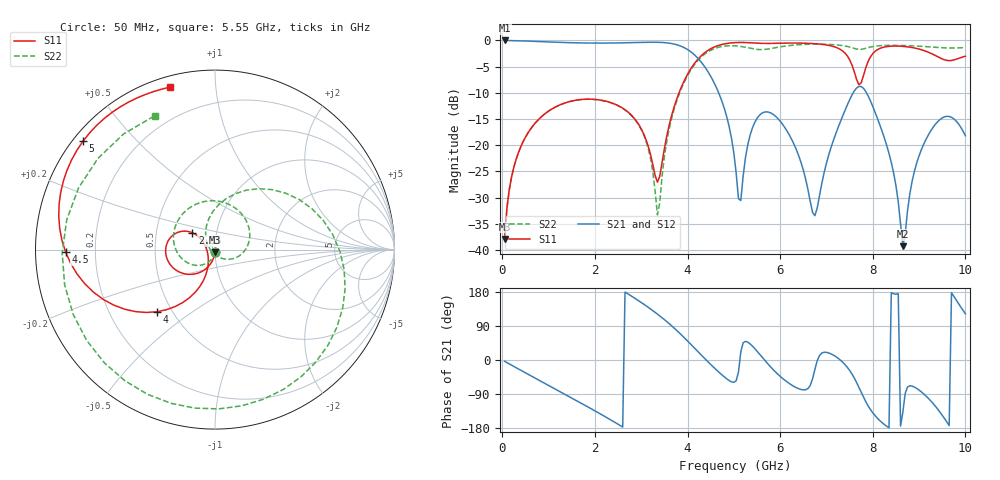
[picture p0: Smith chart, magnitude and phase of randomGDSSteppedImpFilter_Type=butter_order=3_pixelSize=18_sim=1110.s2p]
! freq	dB(S11)	phase(S11)	dB(S12)	phase(S12)
!  dB(S21)	phase(S21)	dB(S22)	phase(S22)
!S-par simulation data
#  GHz  S  DB  R 50
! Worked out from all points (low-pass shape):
!   200 points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, 50 MHz to 10 GHz, reference 50 ohm
!   highest |S21| = 0.00 dB at 50 MHz (marker M1); lowest = -39.3 dB at 8.65 GHz (marker M2)
!   |S21| within 3 dB of the highest: start of sweep to 4.179 GHz
!   lowest |S11| = -37.9 dB at 50 MHz (marker M3), VSWR 1.03, Z = 50 - j1.27 ohm
!   |S11| at or under -10 dB: start of sweep to 3.817 GHz
!   |S22| runs from -38.0 to -0.7 dB; largest |S21 - S12| = 0
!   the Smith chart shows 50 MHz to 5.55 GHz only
!   S11 on the Smith chart (normalised r, x): 50 MHz: 1.00, -0.03; 2.95 GHz: 0.76, +0.15; 4 GHz: 0.41, -0.37; 4.5 GHz: 0.09, -0.01; 5 GHz: 0.03, +0.36; 5.55 GHz: 0.05, +0.76
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0.05  -37.92 -91.3  -0.00 -3.4  -0.00 -3.4  -37.95 -93.5
0.5  -18.47 -115.6  -0.11 -33.9  -0.11 -33.9  -18.50 -132.9
1.75  -11.24 -172.7  -0.49 -117.2  -0.49 -117.2  -11.26 117.5
2.95  -16.10 143.3  -0.39 155.9  -0.39 155.9  -16.21 -7.5
3.4  -25.94 -140.5  -0.37 116.4  -0.37 116.4  -31.03 174.9
4  -6.47 -133.1  -1.74 50.3  -1.74 50.3  -6.73 46.5
4.5  -1.59 -179.1  -6.85 -11.7  -6.85 -11.7  -1.88 -32.4
5  -0.43 140.6  -21.50 -58.9  -21.50 -58.9  -1.02 -115.0
5.05  -0.41 137.1  -25.30 -54.8  -25.30 -54.8  -1.05 -124.5
5.55  -0.54 105.6  -14.31 16.3  -14.31 16.3  -1.75 114.3
6  -0.53 80.3  -15.41 -43.1  -15.41 -43.1  -1.23 6.4
6.7  -0.60 34.9  -32.83 -49.5  -32.83 -49.5  -0.72 -79.6
7.25  -1.49 -17.6  -16.66 4.7  -16.66 4.7  -0.88 -121.6
7.55  -4.67 -82.5  -10.44 -36.8  -10.44 -36.8  -1.39 -140.9
7.7  -8.46 -168.4  -8.79 -72.1  -8.79 -72.1  -1.71 -147.4
7.9  -4.00 72.5  -10.60 -121.1  -10.60 -121.1  -1.37 -155.8
8.35  -1.12 -13.9  -21.56 -178.9  -21.56 -178.9  -0.94 175.8
8.65  -1.13 -49.9  -39.28 -137.2  -39.28 -137.2  -0.97 156.3
9.05  -1.77 -103.6  -20.85 -84.2  -20.85 -84.2  -1.12 129.7
9.4  -3.11 -175.7  -15.53 -129.2  -15.53 -129.2  -1.34 105.9
9.7  -3.82 89.3  -14.68 177.4  -14.68 177.4  -1.45 85.7
10  -3.01 0.6  -18.20 121.9  -18.20 121.9  -1.36 64.9
